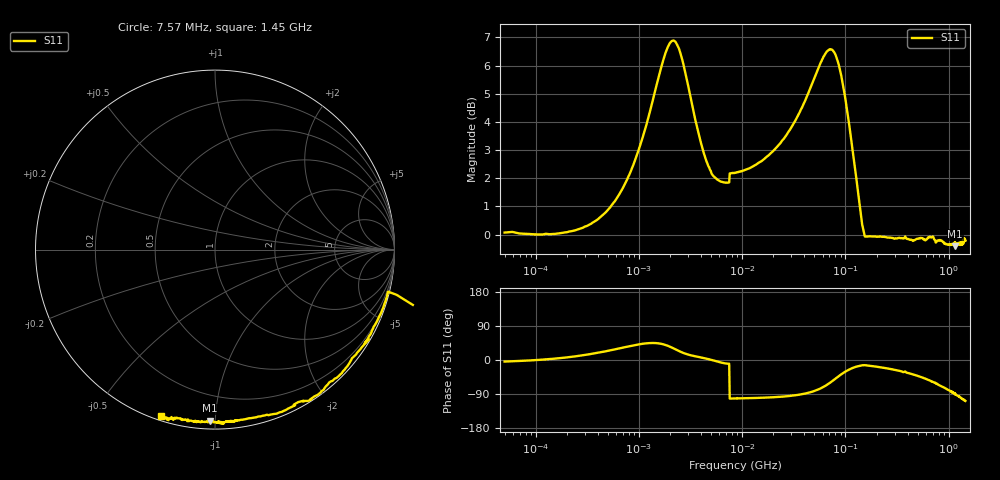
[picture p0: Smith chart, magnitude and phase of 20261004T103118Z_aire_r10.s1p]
! piloto_corto / aire / r10
# HZ S RI R 50
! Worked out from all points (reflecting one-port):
!   501 points, 50 kHz to 1.45 GHz, reference 50 ohm
!   lowest |S11| = -0.4 dB at 1.157 GHz (marker M1), VSWR 41.97, Z = 2.31 - j48.4 ohm
!   phase of S11 starts at -4 deg and turns -104 deg over the sweep
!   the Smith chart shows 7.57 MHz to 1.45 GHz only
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50000  1.005 -0.0726
183000  1.002 0.1001
373000  1.006 0.3181
658000  1.015 0.6127
1180000  1.127 1.087
1630000  1.444 1.341
1990000  1.785 1.264
2440000  1.96 0.8571
3430000  1.606 0.2934
4870000  1.303 0.0302
7300000  1.218 -0.2107
7750000  -0.2604 -1.258
8560000  -0.2562 -1.261
1.81e7  -0.2134 -1.367
3.16e7  -0.0995 -1.574
4.78e7  0.2106 -1.845
6.58e7  0.8599 -1.929
7.48e7  1.207 -1.751
8.83e7  1.496 -1.274
9.82e7  1.506 -0.9357
1e8  1.496 -0.8812
1.18e8  1.309 -0.4963
1.36e8  1.102 -0.3082
1.63e8  0.9603 -0.2478
4.06e8  0.8098 -0.555
7.21e8  0.5022 -0.8428
1.1575e9  -0.0299 -0.953
1.45e9  -0.3019 -0.9268
